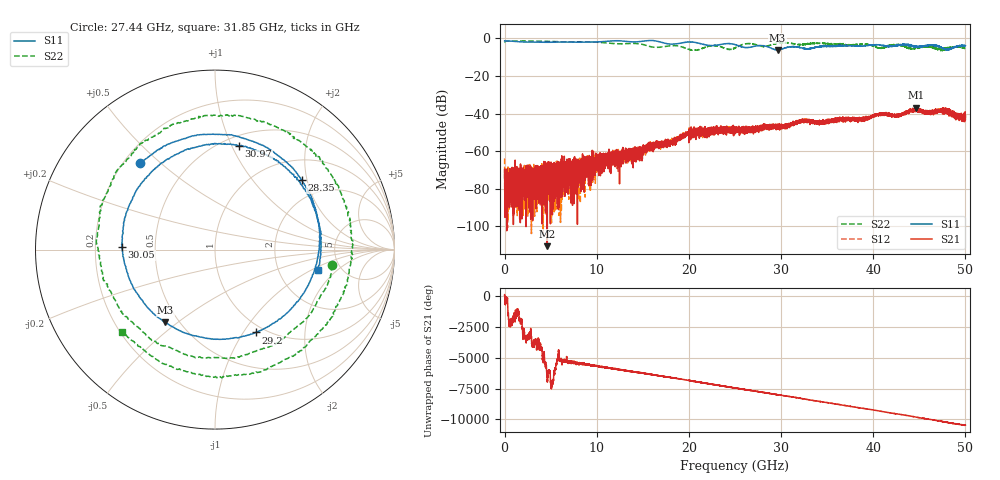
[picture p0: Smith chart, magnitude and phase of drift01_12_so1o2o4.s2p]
!Created with skrf (http://scikit-rf.org).
# Hz S RI R 50.0
!freq ReS11 ImS11 ReS21 ImS21 ReS12 ImS12 ReS22 ImS22
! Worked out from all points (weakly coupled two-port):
!   10001 points, 300 kHz to 50 GHz, reference 50 ohm
!   highest |S21| = -36.85 dB at 44.65 GHz (marker M1); lowest = -110.5 dB at 4.63 GHz (marker M2)
!   lowest |S11| = -6.2 dB at 29.63 GHz (marker M3), VSWR 2.92, Z = 21.2 - j22.6 ohm
!   |S11| at or under -10 dB: nowhere
!   |S22| runs from -6.6 to -1.4 dB; largest |S21 - S12| = 0.0037
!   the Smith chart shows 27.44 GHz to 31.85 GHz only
!   S11 on the Smith chart (normalised r, x): 27.44 GHz: 0.27, +0.43; 28.35 GHz: 1.48, +1.85; 29.2 GHz: 0.91, -1.14; 30.05 GHz: 0.32, +0.01; 30.97 GHz: 0.60, +1.07; 31.85 GHz: 3.39, -1.14
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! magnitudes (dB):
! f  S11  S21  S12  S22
! 300 kHz  -1.3  -74.2  -63.9  -2.1
! 250.3 MHz  -1.4  -73.8  -84.1  -1.4
! 435.3 MHz  -1.4  -78.2  -78.9  -1.4
! 4.63 GHz  -2.1  -110.5  -66.8  -1.6
! 5.15 GHz  -2.1  -72.0  -75.8  -1.6
! 8.335 GHz  -2.0  -71.6  -64.8  -1.8
! 16.67 GHz  -1.7  -56.0  -56.0  -4.8
! 20.09 GHz  -1.9  -49.7  -49.7  -6.0
! 22.62 GHz  -3.8  -47.9  -49.4  -3.8
! 25 GHz  -3.3  -48.2  -48.5  -5.1
! 27.44 GHz  -3.9  -47.7  -48.1  -3.6
! 28.35 GHz  -4.2  -47.4  -46.6  -4.2
! 29.2 GHz  -5.8  -46.9  -46.3  -3.1
! 29.63 GHz  -6.2  -46.9  -47.1  -2.5
! 30.05 GHz  -5.7  -46.7  -47.4  -2.4
! 30.97 GHz  -4.6  -45.9  -46.0  -2.5
! 31.85 GHz  -4.7  -43.9  -44.1  -3.2
! 33.34 GHz  -5.3  -44.3  -44.2  -2.6
! 41.67 GHz  -4.3  -40.4  -40.7  -4.3
! 44.65 GHz  -4.6  -36.9  -38.4  -5.3
! 47.69 GHz  -5.6  -40.4  -38.5  -5.9
! 50 GHz  -3.9  -43.1  -42.4  -5.4
